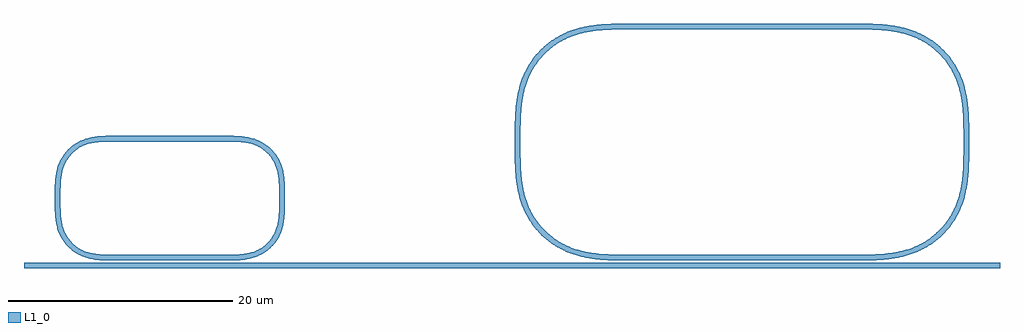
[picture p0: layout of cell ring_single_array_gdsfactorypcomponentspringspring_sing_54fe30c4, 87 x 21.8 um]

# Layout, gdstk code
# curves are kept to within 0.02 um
from math import pi, radians
import gdstk
lib = gdstk.Library(unit=1e-6, precision=1e-09)
def R(c, l, rs):  # rectangles x0, y0, x1, y1
    for r in rs: c.add(gdstk.rectangle(r[:2], r[2:], *l))
def P(c, l, *ps):  # polygons
    for p in ps: c.add(gdstk.Polygon(p, *l))
L1_0 = (1, 0)

coupler_ring_gdsfactoryp = lib.new_cell('coupler_ring_gdsfactorypcomponentspcouplerspcoupler_rin_9e373c82')
R(coupler_ring_gdsfactoryp, L1_0, [(-18,-0.25,8,0.25)])
P(coupler_ring_gdsfactoryp, L1_0, [(-10.278,0.45),(-11.553,0.512),(-12.124,0.609),(-12.549,0.725),(-12.977,0.894),(-13.411,1.132),(-13.809,1.425),(-14.167,1.767),(-14.476,2.152),(-14.733,2.575),(-14.926,3.012),(-15.057,3.433),(-15.147,3.861),(-15.216,4.433),(-15.25,5.7),(-14.75,5.7),(-14.706,4.34),(-14.63,3.814),(-14.538,3.432),(-14.352,2.934),(-14.146,2.558),(-13.892,2.212),(-13.596,1.902),(-13.02,1.48),(-12.634,1.29),(-12.268,1.162),(-11.886,1.07),(-11.36,0.994),(-10.276,0.95),(0.551,0.953),(1.493,1.009),(2.268,1.162),(2.894,1.411),(3.376,1.718),(3.798,2.104),(4.146,2.558),(4.457,3.186),(4.63,3.814),(4.727,4.607),(4.75,5.7),(5.25,5.7),(5.234,4.718),(5.147,3.861),(4.975,3.151),(4.733,2.575),(4.379,2.019),(4.053,1.647),(3.809,1.425),(3.27,1.047),(2.977,0.894),(2.549,0.725),(1.696,0.531),(0.699,0.456)])

bend_euler_gdsfactorypco = lib.new_cell('bend_euler_gdsfactorypcomponentspbendspbend_euler_R5_A9_90a35c7e')
P(bend_euler_gdsfactorypco, L1_0, [(0,-0.25),(0,0.25),(1.36,0.294),(1.886,0.37),(2.268,0.462),(2.634,0.59),(3.02,0.78),(3.376,1.018),(3.699,1.301),(3.982,1.624),(4.22,1.98),(4.41,2.366),(4.538,2.732),(4.63,3.114),(4.706,3.64),(4.75,5),(5.25,5),(5.203,3.59),(5.121,3.018),(5.018,2.592),(4.872,2.174),(4.653,1.73),(4.379,1.319),(4.053,0.947),(3.681,0.621),(3.27,0.347),(2.826,0.128),(2.408,-0.018),(1.982,-0.121),(1.41,-0.203)])

straight_gdsfactorypcomp = lib.new_cell('straight_gdsfactorypcomponentspwaveguidespstraight_L10__f2286423')
R(straight_gdsfactorypcomp, L1_0, [(0,-0.25,10,0.25)])

c_straight_gdsfactorypcomp = lib.new_cell('straight_gdsfactorypcomponentspwaveguidespstraight_L0p6_058e2168')
R(c_straight_gdsfactorypcomp, L1_0, [(0,-0.25,0.6,0.25)])

ring_single_gdsfactorypc = lib.new_cell('ring_single_gdsfactorypcomponentspringspring_single_G0p_914c3c45')
ring_single_gdsfactorypc.add(gdstk.Reference(coupler_ring_gdsfactoryp, (0,0)))
ring_single_gdsfactorypc.add(gdstk.Reference(bend_euler_gdsfactorypco, (-10,11.3), rotation=pi))
ring_single_gdsfactorypc.add(gdstk.Reference(bend_euler_gdsfactorypco, (5,6.3), rotation=pi/2))
ring_single_gdsfactorypc.add(gdstk.Reference(straight_gdsfactorypcomp, (0,11.3), rotation=pi))
ring_single_gdsfactorypc.add(gdstk.Reference(c_straight_gdsfactorypcomp, (-15,5.7), rotation=pi/2))
ring_single_gdsfactorypc.add(gdstk.Reference(c_straight_gdsfactorypcomp, (5,6.3), rotation=3*pi/2))

c_coupler_ring_gdsfactoryp = lib.new_cell('coupler_ring_gdsfactorypcomponentspcouplerspcoupler_rin_8af517f8')
R(c_coupler_ring_gdsfactoryp, L1_0, [(-33,-0.25,13,0.25)])
P(c_coupler_ring_gdsfactoryp, L1_0, [(-20.416,0.45),(-21.812,0.475),(-22.935,0.556),(-23.915,0.703),(-24.883,0.944),(-25.819,1.302),(-26.579,1.708),(-27.397,2.29),(-28.029,2.874),(-28.588,3.529),(-29.137,4.369),(-29.567,5.277),(-29.836,6.091),(-30.048,7.064),(-30.171,8.046),(-30.235,9.168),(-30.25,10.7),(-29.75,10.7),(-29.731,9.045),(-29.647,7.819),(-29.48,6.748),(-29.194,5.71),(-28.887,4.969),(-28.495,4.269),(-28.024,3.621),(-27.575,3.125),(-26.869,2.511),(-26.203,2.065),(-25.488,1.701),(-24.735,1.422),(-23.952,1.22),(-22.881,1.053),(-21.655,0.969),(-20.415,0.95),(1.243,0.958),(2.338,1.005),(3.151,1.086),(3.952,1.22),(4.735,1.422),(5.365,1.649),(5.851,1.873),(6.431,2.205),(6.975,2.593),(7.382,2.94),(7.85,3.417),(8.269,3.938),(8.635,4.497),(8.944,5.09),(9.194,5.71),(9.388,6.354),(9.531,7.013),(9.647,7.819),(9.704,8.498),(9.75,10.7),(10.25,10.7),(10.219,8.747),(10.144,7.765),(10.048,7.064),(9.907,6.368),(9.712,5.681),(9.457,5.012),(9.206,4.495),(8.837,3.88),(8.41,3.303),(8.029,2.874),(7.507,2.382),(6.939,1.944),(6.331,1.563),(5.688,1.243),(5.019,0.988),(4.194,0.761),(3.356,0.609),(2.373,0.506),(1.253,0.458)])

c_bend_euler_gdsfactorypco = lib.new_cell('bend_euler_gdsfactorypcomponentspbendspbend_euler_R10_A_a86bc407')
P(c_bend_euler_gdsfactorypco, L1_0, [(0,-0.25),(0,0.25),(1.655,0.269),(2.881,0.353),(3.952,0.52),(4.99,0.806),(5.731,1.113),(6.431,1.505),(7.079,1.976),(7.575,2.425),(8.024,2.921),(8.495,3.569),(8.887,4.269),(9.194,5.01),(9.48,6.048),(9.647,7.119),(9.731,8.345),(9.75,10),(10.25,10),(10.235,8.468),(10.158,7.205),(10.023,6.224),(9.797,5.254),(9.457,4.312),(9.066,3.545),(8.5,2.715),(7.928,2.072),(7.285,1.5),(6.455,0.934),(5.688,0.543),(4.746,0.203),(3.776,-0.023),(2.795,-0.158),(1.532,-0.235)])

c_straight_gdsfactorypcomp_ = lib.new_cell('straight_gdsfactorypcomponentspwaveguidespstraight_L20__31a8c163')
R(c_straight_gdsfactorypcomp_, L1_0, [(0,-0.25,20,0.25)])

c_ring_single_gdsfactorypc = lib.new_cell('ring_single_gdsfactorypcomponentspringspring_single_G0p_c8ab51a3')
c_ring_single_gdsfactorypc.add(gdstk.Reference(c_coupler_ring_gdsfactoryp, (0,0)))
c_ring_single_gdsfactorypc.add(gdstk.Reference(c_bend_euler_gdsfactorypco, (-20,21.3), rotation=pi))
c_ring_single_gdsfactorypc.add(gdstk.Reference(c_bend_euler_gdsfactorypco, (10,11.3), rotation=pi/2))
c_ring_single_gdsfactorypc.add(gdstk.Reference(c_straight_gdsfactorypcomp_, (0,21.3), rotation=pi))
c_ring_single_gdsfactorypc.add(gdstk.Reference(c_straight_gdsfactorypcomp, (-30,10.7), rotation=pi/2))
c_ring_single_gdsfactorypc.add(gdstk.Reference(c_straight_gdsfactorypcomp, (10,11.3), rotation=3*pi/2))

c_straight_gdsfactorypcomp__ = lib.new_cell('straight_gdsfactorypcomponentspwaveguidespstraight_L15__aa481ca5')
R(c_straight_gdsfactorypcomp__, L1_0, [(0,-0.25,15,0.25)])

ring_single_array_gdsfac = lib.new_cell('ring_single_array_gdsfactorypcomponentspringspring_sing_54fe30c4')
ring_single_array_gdsfac.add(gdstk.Reference(ring_single_gdsfactorypc, (0,0)))
ring_single_array_gdsfac.add(gdstk.Reference(c_ring_single_gdsfactorypc, (56,0)))
ring_single_array_gdsfac.add(gdstk.Reference(c_straight_gdsfactorypcomp__, (8,0)))

lib.write_gds('ring_single_array_gdsfactorypcomponentspringspring_sing_54fe30c4.gds')
